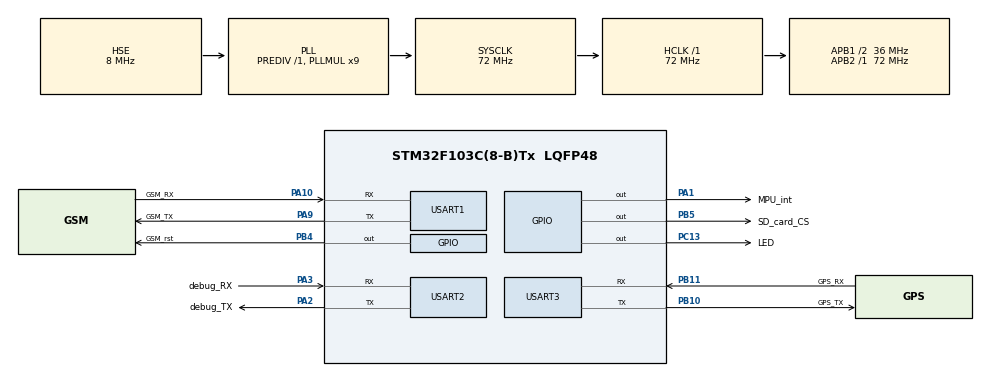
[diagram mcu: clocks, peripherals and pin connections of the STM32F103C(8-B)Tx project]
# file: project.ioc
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Mcu.Family=STM32F1
Mcu.Name=STM32F103C(8-B)Tx
Mcu.Package=LQFP48
NVIC.PriorityGroup=NVIC_PRIORITYGROUP_4
NVIC.TIM3_IRQn=true\:1\:0\:true\:false\:true\:true\:true
NVIC.USART1_IRQn=true\:1\:0\:true\:false\:true\:true\:true
NVIC.USART2_IRQn=true\:1\:0\:true\:false\:true\:true\:true
NVIC.USART3_IRQn=true\:1\:0\:true\:false\:true\:true\:true
PA1.GPIO_Label=MPU_int
PA1.Signal=GPIO_Output
PA10.GPIO_Label=GSM_RX
PA10.Mode=Asynchronous
PA10.Signal=USART1_RX
PA2.GPIO_Label=debug_TX
PA2.Mode=Asynchronous
PA2.Signal=USART2_TX
PA3.GPIO_Label=debug_RX
PA3.Mode=Asynchronous
PA3.Signal=USART2_RX
PA9.GPIO_Label=GSM_TX
PA9.Mode=Asynchronous
PA9.Signal=USART1_TX
PB10.GPIO_Label=GPS_TX
PB10.Mode=Asynchronous
PB10.Signal=USART3_TX
PB11.GPIO_Label=GPS_RX
PB11.Mode=Asynchronous
PB11.Signal=USART3_RX
PB4.GPIO_Label=GSM_rst
PB4.Signal=GPIO_Output
PB5.GPIO_Label=SD_card_CS
PB5.Signal=GPIO_Output
PC13-TAMPER-RTC.GPIO_Label=LED
PC13-TAMPER-RTC.Signal=GPIO_Output
PC14-OSC32_IN.Mode=LSE-External-Oscillator
PC14-OSC32_IN.Signal=RCC_OSC32_IN
PC15-OSC32_OUT.Mode=LSE-External-Oscillator
PC15-OSC32_OUT.Signal=RCC_OSC32_OUT
PD0-OSC_IN.Mode=HSE-External-Oscillator
PD0-OSC_IN.Signal=RCC_OSC_IN
PD1-OSC_OUT.Mode=HSE-External-Oscillator
PD1-OSC_OUT.Signal=RCC_OSC_OUT
ProjectManager.HeapSize=0x200
ProjectManager.StackSize=0x400
ProjectManager.TargetToolchain=MDK-ARM V5.27
RCC.AHBFreq_Value=72000000
RCC.APB1CLKDivider=RCC_HCLK_DIV2
RCC.APB1Freq_Value=36000000
RCC.APB1TimFreq_Value=72000000
RCC.APB2Freq_Value=72000000
RCC.APB2TimFreq_Value=72000000
RCC.HCLKFreq_Value=72000000
RCC.PLLMUL=RCC_PLL_MUL9
RCC.PLLSourceVirtual=RCC_PLLSOURCE_HSE
RCC.SYSCLKFreq_VALUE=72000000
RCC.SYSCLKSource=RCC_SYSCLKSOURCE_PLLCLK
RCC.USBFreq_Value=72000000
USART1.VirtualMode=VM_ASYNC
USART2.VirtualMode=VM_ASYNC
USART3.VirtualMode=VM_ASYNC
VP_SYS_VS_ND.Mode=No_Debug
VP_TIM3_VS_ClockSourceINT.Mode=Internal
board=custom

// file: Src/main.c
/* USER CODE BEGIN Header */
/**
  ******************************************************************************
  * @file           : main.c
  * @brief          : Main program body
  ******************************************************************************
  * @attention
  *
  * <h2><center>&copy; Copyright (c) 2020 STMicroelectronics.
  * All rights reserved.</center></h2>
  *
  * This software component is licensed by ST under BSD 3-Clause license,
  * the "License"; You may not use this file except in compliance with the
  * License. You may obtain a copy of the License at:
  *                        opensource.org/licenses/BSD-3-Clause
  *
  ******************************************************************************
  */
/* USER CODE END Header */

#include "main.h"
#include "tim.h"
#include "usart.h"
#include "gpio.h"

/* USER CODE BEGIN Includes */
#include <stdbool.h>
#include "stdlib.h"
#include "string.h"
#include <stdio.h>
/* USER CODE END Includes */

/* USER CODE BEGIN PTD */
#ifdef __GNUC__
	#define PUTCHAR_PROTOTYPE int __io_putchar(int ch)
#else
	#define PUTCHAR_PROTOTYPE int fputc(int ch, FILE *f)
#endif

PUTCHAR_PROTOTYPE{
	HAL_UART_Transmit(&huart2, (uint8_t *)&ch, 1, 1000);
	return ch;
}
enum gsm_status{
  INIT, ATE0, CMEE, CIPSTART, CIPSEND, CIPCLOSE, NOTHING, PUBLIH, DONE_PUBISH
};
enum gsm_status device = INIT;

#define MAX_GSM_SERIAL_BUFFER 100
#define MAX_GSM_RESET_INTERVAL 100
int gsm_reset_interval_cnt = 0;

uint8_t gsm_serial_data[1];
char gsm_serial_buffer[MAX_GSM_SERIAL_BUFFER];
int gsm_serial_buffer_idx = 0;

int gsm_rst_tim_cnt = 0;
int timer_counter;

int gsm_send_period = 12;
char* gsm_response1 = "+CREG: 1,5";
char* gsm_response2 = "+CREG: 1,1";
char* gsm_response3 = NULL;

char MQTT_STR [750];
int MQTT_STR_idx = 0;

char* MQTT_BROKER = "193.176.241.102";
//char* MQTT_BROKER = "broker.hivemq.com";
int MQTT_PORT = 1883;
char* MQTT_PCKT_ID = "REZA";
char* MQTT_PCKT_TOPIC = "mqtt_gs";
#define MQTT_SEND_INTERVAL	12
int mqtt_send_interval_cnt = 0;

/* USER CODE END PTD */

#define gps_tag_size  70
#define mpu_packe_size  70
#define mpu_pcket_in_each_second   5
TM_GPS_t GPS_Data;
TM_GPS_Result_t result;
TM_GPS_Float_t GPS_Float;
struct GPS_tag {
  int year;
  int month;
  uint8_t day;
  uint8_t hour;
  uint8_t minute;
  uint8_t second;

  float latitude;
  float longitude;
  float altitude;

	float custom_latitude;
  float custom_longitude;

  uint8_t satelite_number;
  uint8_t speed;
};
struct GPS_tag gps_tag;
uint8_t gps_serial_data[1];

#define MQTT_ARRAY_LENGTH  	gps_tag_size * 10
char MQTT_ARRAY[MQTT_ARRAY_LENGTH];
/* USER CODE BEGIN PM */
uint8_t hex(int _int){
  uint8_t res;
  res = _int/16;
  res = res << 4;
  res = res | (_int%16);
  return res;
}
int parse_gsm_rec_buffer(){
	int res = -1;
	if(gsm_response1 != NULL)
		if (strstr(gsm_serial_buffer, gsm_response1) != NULL)
			res = 1;
	if(gsm_response2 != NULL)
		if (strstr(gsm_serial_buffer, gsm_response2) != NULL)
			res = 2;
  if(gsm_response3 != NULL)
		if (strstr(gsm_serial_buffer, gsm_response3) != NULL)
			res = 3;

	if(res != -1){
		printf("Res: ");
		switch(res){
			case 1:
				printf(gsm_response1);
				break;
			case 2:
				printf(gsm_response2);
				break;
			case 3:
				printf(gsm_response3);
				break;
			}
		printf("\n");
		}

	return res;
}
void MQTT_PUBLISH(){
	MQTT_STR_idx = 0;
	memset(MQTT_STR, 0, sizeof(MQTT_STR));
  MQTT_STR[MQTT_STR_idx++] = 0x10;
  MQTT_STR[MQTT_STR_idx++] = hex(10 + 2 + strlen(MQTT_PCKT_ID));

  MQTT_STR[MQTT_STR_idx++] = 0x00;
  MQTT_STR[MQTT_STR_idx++] = 0x04;
  MQTT_STR[MQTT_STR_idx++] = 0x4D;
  MQTT_STR[MQTT_STR_idx++] = 0x51;
  MQTT_STR[MQTT_STR_idx++] = 0x54;
  MQTT_STR[MQTT_STR_idx++] = 0x54;

  MQTT_STR[MQTT_STR_idx++] = 0x04;
  MQTT_STR[MQTT_STR_idx++] = 0x02;
  MQTT_STR[MQTT_STR_idx++] = 0x00;
  MQTT_STR[MQTT_STR_idx++] = 0x3c;

  MQTT_STR[MQTT_STR_idx++] = hex(strlen(MQTT_PCKT_ID)/16);
  MQTT_STR[MQTT_STR_idx++] = hex(strlen(MQTT_PCKT_ID)%16);

  for(int i=0; i<strlen(MQTT_PCKT_ID); i++)
		MQTT_STR[MQTT_STR_idx++] = hex(MQTT_PCKT_ID[i]);

	int pckt_length = 2 + strlen(MQTT_PCKT_TOPIC) + MQTT_ARRAY_LENGTH;

	MQTT_STR[MQTT_STR_idx++] = hex(48);

	if(pckt_length <= 127)
		MQTT_STR[MQTT_STR_idx++] = hex(pckt_length);

  else {
    uint8_t tmp;
    tmp = hex(pckt_length%128);
		unsigned int b = 128;
    tmp = b | tmp;
		MQTT_STR[MQTT_STR_idx++] = hex(tmp);
    tmp = hex(pckt_length/128);
		MQTT_STR[MQTT_STR_idx++] = hex(tmp);
  }

	MQTT_STR[MQTT_STR_idx++] = hex(0);
	MQTT_STR[MQTT_STR_idx++] = hex(strlen(MQTT_PCKT_TOPIC));
	for(int i = 0; i < strlen(MQTT_PCKT_TOPIC); i++)
		MQTT_STR[MQTT_STR_idx++] = hex(MQTT_PCKT_TOPIC[i]);

	for(int i = 0; i < MQTT_ARRAY_LENGTH; i++)
		MQTT_STR[MQTT_STR_idx++] = hex(MQTT_ARRAY[i]);

	HAL_UART_Transmit(&huart1, (uint8_t*)MQTT_STR, MQTT_STR_idx, 1000);
	HAL_Delay(150);
	char str[1];
	sprintf (str, "%c", 26);
	HAL_UART_Transmit(&huart1, (uint8_t*)str, sizeof(char), 1000);
}

/* USER CODE END PM */

/* USER CODE BEGIN PV */
bool dummy_send_flag = true;
int dummy_send__cntr = 1;
void packetize_mqtt(struct GPS_tag pckt, char pckt_array[]){
  double dec, fract;
  int fractt, decc;
  int idx = 0;

  fract = modf(pckt.latitude, &dec);
  decc = dec;
  pckt_array[idx++] = (decc/10) + '0';
  pckt_array[idx++] = (decc%10) + '0';
  pckt_array[idx++] = '.';
  fractt = fract * 10000000;//10.000.000
  pckt_array[idx++] = (fractt/1000000) + '0';   fractt%=1000000;
  pckt_array[idx++] = (fractt/100000) + '0';   fractt%=100000;
  pckt_array[idx++] = (fractt/10000) + '0';   fractt%=10000;
  pckt_array[idx++] = (fractt/1000) + '0';   fractt%=1000;
  pckt_array[idx++] = (fractt/100) + '0';   fractt%=100;
  pckt_array[idx++] = (fractt/10) + '0';   fractt%=10;
  pckt_array[idx++] = ',';

  fract = modf(pckt.longitude, &dec);
  decc = dec;
  pckt_array[idx++] = (decc/10) + '0';
  pckt_array[idx++] = (decc%10) + '0';
  pckt_array[idx++] = '.';
  fractt = fract * 10000000;//10.000.000
  pckt_array[idx++] = (fractt/1000000) + '0';   fractt%=1000000;
  pckt_array[idx++] = (fractt/100000) + '0';   fractt%=100000;
  pckt_array[idx++] = (fractt/10000) + '0';   fractt%=10000;
  pckt_array[idx++] = (fractt/1000) + '0';   fractt%=1000;
  pckt_array[idx++] = (fractt/100) + '0';   fractt%=100;
  pckt_array[idx++] = (fractt/10) + '0';   fractt%=10;
  pckt_array[idx++] = ',';

	fract = modf(pckt.custom_latitude, &dec);
  decc = dec;
  pckt_array[idx++] = (decc/10) + '0';
  pckt_array[idx++] = (decc%10) + '0';
  pckt_array[idx++] = '.';
  fractt = fract * 10000000;//10.000.000
  pckt_array[idx++] = (fractt/1000000) + '0';   fractt%=1000000;
  pckt_array[idx++] = (fractt/100000) + '0';   fractt%=100000;
  pckt_array[idx++] = (fractt/10000) + '0';   fractt%=10000;
  pckt_array[idx++] = (fractt/1000) + '0';   fractt%=1000;
  pckt_array[idx++] = (fractt/100) + '0';   fractt%=100;
  pckt_array[idx++] = (fractt/10) + '0';   fractt%=10;
  pckt_array[idx++] = ',';

  fract = modf(pckt.custom_longitude, &dec);
  decc = dec;
  pckt_array[idx++] = (decc/10) + '0';
  pckt_array[idx++] = (decc%10) + '0';
  pckt_array[idx++] = '.';
  fractt = fract * 10000000;//10.000.000
  pckt_array[idx++] = (fractt/1000000) + '0';   fractt%=1000000;
  pckt_array[idx++] = (fractt/100000) + '0';   fractt%=100000;
  pckt_array[idx++] = (fractt/10000) + '0';   fractt%=10000;
  pckt_array[idx++] = (fractt/1000) + '0';   fractt%=1000;
  pckt_array[idx++] = (fractt/100) + '0';   fractt%=100;
  pckt_array[idx++] = (fractt/10) + '0';   fractt%=10;
  pckt_array[idx++] = ',';

  decc = pckt.altitude * 10;
  pckt_array[idx++] = (decc/10000) + '0';   decc%=10000;
  pckt_array[idx++] = (decc/1000) + '0';   decc%=1000;
  pckt_array[idx++] = (decc/100) + '0';   decc%=100;
  pckt_array[idx++] = (decc/10) + '0';   decc%=10;
  pckt_array[idx++] = '.';
  pckt_array[idx++] = (decc%10) + '0';
  pckt_array[idx++] = ',';

  pckt_array[idx++] = (pckt.satelite_number / 10) + '0';
  pckt_array[idx++] = (pckt.satelite_number % 10) + '0';
  pckt_array[idx++] = ',';

  pckt_array[idx++] = (pckt.year/1000) + '0';   pckt.year%=1000;
  pckt_array[idx++] = (pckt.year/100) + '0';   pckt.year%=100;
  pckt_array[idx++] = (pckt.year/10) + '0';   pckt.year%=10;
  pckt_array[idx++] = (pckt.year % 10) + '0';
  pckt_array[idx++] = '/';

  pckt_array[idx++] = (pckt.month/10) + '0';   pckt.month%=10;
  pckt_array[idx++] = (pckt.month % 10) + '0';
  pckt_array[idx++] = '/';

  pckt_array[idx++] = (pckt.day/10) + '0';   pckt.day%=10;
  pckt_array[idx++] = (pckt.day % 10) + '0';
  pckt_array[idx++] = ',';

  pckt_array[idx++] = (pckt.hour/10) + '0';   pckt.hour%=10;
  pckt_array[idx++] = (pckt.hour % 10) + '0';
  pckt_array[idx++] = ':';

  pckt_array[idx++] = (pckt.minute/10) + '0';   pckt.minute%=10;
  pckt_array[idx++] = (pckt.minute % 10) + '0';
  pckt_array[idx++] = ':';

  pckt_array[idx++] = (pckt.second/10) + '0';   pckt.second%=10;
  pckt_array[idx++] = (pckt.second % 10) + '0';
  pckt_array[idx++] = '*';

  pckt_array[idx] = '\0';
}
void gsm_transmit_at(){
	int STRMAX =100;
	char dummy[1];
	char ss[50];
	char str[STRMAX];

	if(device != NOTHING && device != DONE_PUBISH){
		switch(device){
			case (INIT):
//				sprintf (dummy, "%c", 26);
//				HAL_UART_Transmit(&huart1, (uint8_t*)dummy, sizeof(char), 1000);
				strncpy(str, "AT+CREG?\r\n", STRMAX);
				printf("Sending: %s", str);
				HAL_UART_Transmit(&huart1, (uint8_t*)str, strlen(str), 1000);
			break;

			case(ATE0):
				strncpy(str, "ATE0\r\n", STRMAX);
				printf("Sending: %s", str);
				HAL_UART_Transmit(&huart1, (uint8_t*)str, strlen(str), 1000);
			break;

			case (CMEE):
				strncpy(str, "AT+CMEE=2\r\n", STRMAX);
				printf("Sending: %s", str);
				HAL_UART_Transmit(&huart1, (uint8_t*)str, strlen(str), 1000);
			break;

			case(CIPSTART):
				sprintf(ss, "AT+CIPSTART=\"TCP\",\"%s\",%d\r\n", MQTT_BROKER, MQTT_PORT);
				strncpy(str, ss, STRMAX);
				printf("Sending: %s", str);
				HAL_UART_Transmit(&huart1, (uint8_t*)str, strlen(str), 1000);
			break;

			case(CIPSEND):
				strncpy(str, "AT+CIPSEND\r\n", STRMAX);
				printf("Sending: %s", str);
				HAL_UART_Transmit(&huart1, (uint8_t*)str, strlen(str), 1000);
			break;

			case(PUBLIH):
				printf("Generating MQTT pckt\n");

//				printf(MQTT_ARRAY);
//				printf("\n\n");

				MQTT_PUBLISH();
				sprintf (dummy, "%c", 26);
				HAL_UART_Transmit(&huart1, (uint8_t*)dummy, sizeof(char), 1000);
				dummy_send_flag = true;
//				device = CIPCLOSE;
			break;

			case(CIPCLOSE):
				sprintf (dummy, "%c", 26);
				HAL_UART_Transmit(&huart1, (uint8_t*)dummy, sizeof(char), 1000);
				strncpy(str, "AT+CIPCLOSE\r\n", STRMAX);
				printf("Sending: %s", str);
				HAL_UART_Transmit(&huart1, (uint8_t*)str, strlen(str), 1000);
				device = NOTHING;
			break;
		}
		gsm_serial_buffer_idx = 0;
		memset(gsm_serial_buffer, 0, sizeof gsm_serial_buffer);
	}
}
void gsm_next_status(){
	switch(device){
		case INIT:
			device = ATE0;
			gsm_response1 = "OK";
			gsm_response2 = NULL;
			gsm_response3 = NULL;
			gsm_send_period = 4;
		case ATE0:
			device = CMEE;
			gsm_response1 = "OK";
			gsm_response2 = NULL;
			gsm_response3 = NULL;
			gsm_send_period = 4;
			break;
		case CMEE:
			device = CIPSTART;
			gsm_response1 = "CONNECT OK";
			gsm_response2 = "ALREAY CONNECT";
			gsm_response3 = NULL;
			gsm_send_period = 16;
			break;
		case CIPSTART:
			device = CIPSEND;
			gsm_response1 = ">";
			gsm_response2 = NULL;
			gsm_response3 = NULL;
			gsm_send_period = 8;
			break;
		case CIPSEND:
			device = PUBLIH;
			gsm_response1 = "SEND OK";
			gsm_response2 = NULL;
			gsm_response3 = NULL;
			gsm_send_period = 8;
			break;
//		case PUBLIH:
//			device = NOTHING;
//			gsm_response1 = "SEND OK";
//			gsm_response2 = NULL;
//			gsm_response3 = NULL;
//			gsm_send_period = 4;
//			break;
//		case PUBLIH:
//			device = NOTHING;
//			gsm_response1 = "CLOSED";
//			gsm_response2 = "CLOSE OK";
//			gsm_response3 = "ERROR";
//			gsm_send_period = 4;
//			timer_counter = 1;
//			break;
	}

//	timer_counter = 1;
}
void reset_gsm_device(){
	printf("Reseting GSM\n");
	HAL_GPIO_WritePin(GSM_rst_GPIO_Port, GSM_rst_Pin, GPIO_PIN_SET);
	HAL_GPIO_WritePin(GSM_rst_GPIO_Port, GSM_rst_Pin, GPIO_PIN_RESET);
	timer_counter = 1;
	gsm_reset_interval_cnt = 0;
	gsm_serial_buffer_idx = 0;
	memset(gsm_serial_buffer, 0, sizeof gsm_serial_buffer);

	device = INIT;
	gsm_send_period = 12;
	gsm_response1 = "+CREG: 1,5";
	gsm_response2 = "+CREG: 1,1";
	gsm_response3 = NULL;
	gsm_transmit_at();
}
void HAL_TIM_PeriodElapsedCallback(TIM_HandleTypeDef *htim){
	HAL_GPIO_TogglePin(GPIOC, GPIO_PIN_13);
	timer_counter++;
	gsm_reset_interval_cnt++;

	if(dummy_send_flag)
		dummy_send__cntr++;
	if(dummy_send__cntr%6 ==0){
		dummy_send__cntr =1;
		dummy_send_flag = false;
		if(device == PUBLIH)
			device = CIPCLOSE;
	}
	if(timer_counter % gsm_send_period == 0){
		gsm_transmit_at();
		timer_counter = 1;
	}
	if(device == NOTHING){
		mqtt_send_interval_cnt++;
		if(mqtt_send_interval_cnt % MQTT_SEND_INTERVAL == MQTT_SEND_INTERVAL -1){
			mqtt_send_interval_cnt = 0;
			device = CMEE;
			gsm_next_status();
			gsm_transmit_at();
			timer_counter = 1;
		}
	}
	if(gsm_reset_interval_cnt % MAX_GSM_RESET_INTERVAL == MAX_GSM_RESET_INTERVAL-1){
		reset_gsm_device();
	}
}

void HAL_UART_RxCpltCallback(UART_HandleTypeDef *huart){
	if(huart->Instance == USART1){ // GSM
		gsm_serial_buffer[gsm_serial_buffer_idx++] = gsm_serial_data[0];
			int ret = parse_gsm_rec_buffer();
			if(ret != -1){
				timer_counter = 1;
				gsm_reset_interval_cnt = 0;
				gsm_serial_buffer_idx = 0;
				memset(gsm_serial_buffer, 0, sizeof gsm_serial_buffer);
				gsm_next_status();
				gsm_transmit_at();
			}
			if(MAX_GSM_SERIAL_BUFFER < gsm_serial_buffer_idx){
					gsm_serial_buffer_idx = 0;
					memset(gsm_serial_buffer, 0, sizeof gsm_serial_buffer);
				}
		HAL_UART_Receive_IT(&huart1, gsm_serial_data, sizeof(gsm_serial_data));
	}
	if(huart->Instance == USART3){ // GSM
		result = TM_GPS_Update(&GPS_Data, gps_serial_data[0]);
		if (result == TM_GPS_Result_NewData) {

			__HAL_UART_DISABLE_IT(&huart1, false);
			TM_GPS_ConvertFloat(GPS_Data.Latitude, &GPS_Float, 6);
			gps_tag.latitude = GPS_Float.Integer;
			gps_tag.latitude += GPS_Float.Decimal * 1e-6;

			TM_GPS_ConvertFloat(GPS_Data.Longitude, &GPS_Float, 6);
			gps_tag.longitude = GPS_Float.Integer;
			gps_tag.longitude += GPS_Float.Decimal * 1e-6;

			TM_GPS_ConvertFloat(GPS_Data.Altitude, &GPS_Float, 6);
			gps_tag.altitude = GPS_Float.Integer;
			gps_tag.altitude += GPS_Float.Decimal * 1e-6;

			gps_tag.satelite_number = GPS_Data.Satellites;

			char _array [gps_tag_size];
			gps_tag.hour = GPS_Data.Time.Hours;
			gps_tag.minute = GPS_Data.Time.Minutes;
			gps_tag.second = GPS_Data.Time.Seconds;
			packetize_mqtt(gps_tag, _array);
			_array[strlen(_array)] = '\0';
			for(int i=gps_tag_size; i<MQTT_ARRAY_LENGTH; i++)
				MQTT_ARRAY[i-gps_tag_size] = MQTT_ARRAY[i];

			int dummy = MQTT_ARRAY_LENGTH - gps_tag_size;
			for(int i=dummy; i<MQTT_ARRAY_LENGTH; i++)
				MQTT_ARRAY[i] = _array[i - dummy];

			MQTT_ARRAY[strlen(MQTT_ARRAY)] = '\0';
//			printf(_array);
//			printf("\n\n");
		}
		HAL_UART_Receive_IT(&huart1, gsm_serial_data, sizeof(gsm_serial_data));
		HAL_UART_Receive_IT(&huart3, gps_serial_data, sizeof(gps_serial_data));
	}
}

/* USER CODE END PV */

void SystemClock_Config(void);

int main(void)
{

  /* MCU Configuration--------------------------------------------------------*/

  /* Reset of all peripherals, Initializes the Flash interface and the Systick. */
  HAL_Init();

  /* Configure the system clock */
  SystemClock_Config();

  /* Initialize all configured peripherals */
  MX_GPIO_Init();
  MX_USART1_UART_Init();
  MX_USART2_UART_Init();
  MX_USART3_UART_Init();
  MX_TIM3_Init();
	for(int i=0; i<MQTT_ARRAY_LENGTH; i++)
		MQTT_ARRAY[i] = 'b';
	printf("Device Started\n");
	HAL_UART_Receive_IT(&huart1, gsm_serial_data, sizeof(gsm_serial_data));
	HAL_GPIO_WritePin(GSM_rst_GPIO_Port, GSM_rst_Pin, GPIO_PIN_RESET);
	HAL_TIM_Base_Start_IT(&htim3);
	HAL_UART_Receive_IT(&huart3, gps_serial_data, sizeof(gps_serial_data));
	reset_gsm_device();

	TM_GPS_Init(&GPS_Data, 115200);

	/* Convert float number */

  /* USER CODE BEGIN WHILE */
	while (1) {
	}
  /* USER CODE END 3 */
}

void SystemClock_Config(void)
{
  RCC_OscInitTypeDef RCC_OscInitStruct = {0};
  RCC_ClkInitTypeDef RCC_ClkInitStruct = {0};

  /** Initializes the CPU, AHB and APB busses clocks
  */
  RCC_OscInitStruct.OscillatorType = RCC_OSCILLATORTYPE_HSE;
  RCC_OscInitStruct.HSEState = RCC_HSE_ON;
  RCC_OscInitStruct.HSEPredivValue = RCC_HSE_PREDIV_DIV1;
  RCC_OscInitStruct.HSIState = RCC_HSI_ON;
  RCC_OscInitStruct.PLL.PLLState = RCC_PLL_ON;
  RCC_OscInitStruct.PLL.PLLSource = RCC_PLLSOURCE_HSE;
  RCC_OscInitStruct.PLL.PLLMUL = RCC_PLL_MUL9;
  if (HAL_RCC_OscConfig(&RCC_OscInitStruct) != HAL_OK)
  {
    Error_Handler();
  }
  /** Initializes the CPU, AHB and APB busses clocks
  */
  RCC_ClkInitStruct.ClockType = RCC_CLOCKTYPE_HCLK|RCC_CLOCKTYPE_SYSCLK
                              |RCC_CLOCKTYPE_PCLK1|RCC_CLOCKTYPE_PCLK2;
  RCC_ClkInitStruct.SYSCLKSource = RCC_SYSCLKSOURCE_PLLCLK;
  RCC_ClkInitStruct.AHBCLKDivider = RCC_SYSCLK_DIV1;
  RCC_ClkInitStruct.APB1CLKDivider = RCC_HCLK_DIV2;
  RCC_ClkInitStruct.APB2CLKDivider = RCC_HCLK_DIV1;

  if (HAL_RCC_ClockConfig(&RCC_ClkInitStruct, FLASH_LATENCY_2) != HAL_OK)
  {
    Error_Handler();
  }
}

void Error_Handler(void)
{
}

/************************ (C) COPYRIGHT STMicroelectronics *****END OF FILE****/
